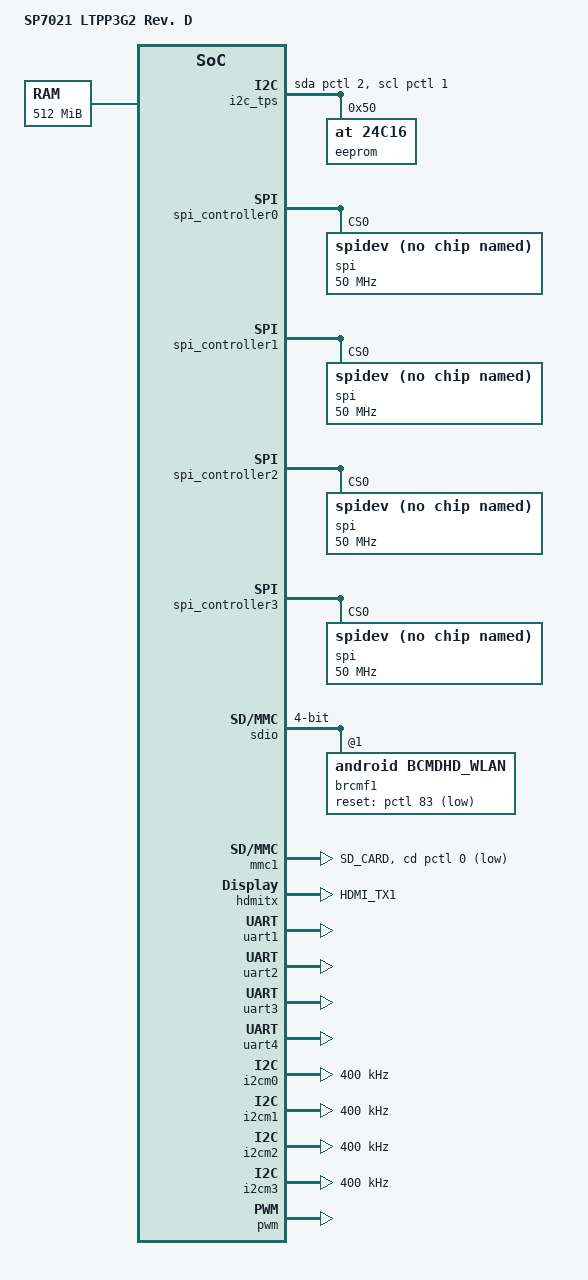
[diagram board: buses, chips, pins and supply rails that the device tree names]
// SPDX-License-Identifier: GPL-2.0
/*
 * Device Tree Source (include) for Sunplus SP7021 SoC
 *                (LTPP3G2 Rev. D portion)
 *
 * Copyright (C) 2021 Sunplus Technology Co.
 */

/dts-v1/;

#include "sp7021-common.dtsi"

/ {
	model = "SP7021 LTPP3G2 Rev. D";

	chosen {
		bootargs = "console=ttyS0,115200 root=/dev/ram rw loglevel=8 earlyprintk";
		stdout-path = "serial0:115200n8";
	};

	memory {
		reg = <0x00000000 0x20000000>; /* 512MB */
	};
};

&rtc {  charging-mode = <0x0E>;  };

&sp_display {
	ui_width = <1280>;
	ui_height = <720>;
	ui_format = <0x8>;
		/* 0x2 = 8bpp (ARGB)
		 * 0x4 = YUY2
		 * 0x8 = RGB565
		 * 0x9 = ARGB1555
		 * 0xa = RGBA4444
		 * 0xb = ARGB4444
		 * 0xd = RGBA8888
		  0xe = ARGB8888 */
};

&sp_spinor0 {  status = "disabled";  };

&spi_controller0 {
pinctrl-names = "default";
	pinctrl-0 = <&spim0_pins>;
	#address-cells = <1>;
	#size-cells = <0>;
	spi@0{    
		compatible = "rohm,dh2228fv";	
		reg = <0x0>;
		spi-max-frequency = <50000000>;		
		status = "okay";
	};
};

&spi_controller1 {
	pinctrl-names = "default";
	pinctrl-0 = <&spim1_pins>;
	#address-cells = <1>;
	#size-cells = <0>;
	spi@0{    
		compatible = "rohm,dh2228fv";	
		reg = <0x0>;
		spi-max-frequency = <50000000>;
		status = "okay";
	};
};

&spi_controller2 {
	pinctrl-names = "default";
	pinctrl-0 = <&spim2_pins>;
	#address-cells = <1>;
	#size-cells = <0>;
	spi@0{    
		compatible = "rohm,dh2228fv";	
		reg = <0x0>;
		spi-max-frequency = <50000000>;		
		status = "okay";
	};
};

&spi_controller3 {
	pinctrl-names = "default";
	pinctrl-0 = <&spim3_pins>;
	#address-cells = <1>;
	#size-cells = <0>;
	spi@0{    
		compatible = "rohm,dh2228fv";	
		reg = <0x0>;
		spi-max-frequency = <50000000>;		
		status = "okay";
	};
};


&sdio {
 pinctrl-names = "default";
 pinctrl-0 = <&pins_sdio &pins_sdio_reset>;
 bus-width = <4>;
 max-frequency = <40000000>; /* up to 52 */
 // this: enable
 status = "okay";
 brcmf1: bcrmf@1 {
   reg = <1>;
   compatible = "android,bcmdhd_wlan";
   reset-gpios = <&pctl 83 GPIO_ACTIVE_LOW>;
 };
};

&sp_uphy0 {
 pinctrl-names = "default";
 pinctrl-0 = <&pins_vbus_usb0>;
 vbus-gpio = <&pctl 90 GPIO_ACTIVE_HIGH>;
};

&sp_uphy1 {
  pinctrl-names = "default";
  pinctrl-0 = <&pins_vbus_usb1>;
  vbus-gpio = <&pctl 91 GPIO_ACTIVE_HIGH>;
};

&l2sw {
 pinctrl-names = "default";
 pinctrl-0 = <&ethA_pins &eth0_pins &eth1_pins>;
 mode = < 1 >;
	/* 0 = daisy-chain mode
		* 1 = dual NIC mode
		* 2 = daisy-chain mode (disable SA learning) */
};

&mmc0 {
 pinctrl-names = "default";
 pinctrl-0 = <&emmc_mux>;
};

&mmc1 {
 pinctrl-names = "default";
 pinctrl-0 = <&mmc1_mux>;
 cd-gpios = <&pctl 0 GPIO_ACTIVE_LOW>;
};

&hdmitx {
 pinctrl-names = "default";
 pinctrl-0 = <&hdmi_A_tx1>;
};

&uart1 {
 pinctrl-names = "default";
 pinctrl-0 = <&pins_uart1>;
 status = "okay";
 // this: enable, pins_uart1
};

&uart2 {
 pinctrl-names = "default";
 pinctrl-0 = <&pins_uart2>;
 status = "okay";
 // this: enable, pins_uart2
};

&uart3 {
 pinctrl-names = "default";
 pinctrl-0 = <&pins_uart3>;
 status = "okay";
 // this: enable, pins_uart3
};

&uart4 {
 pinctrl-names = "default";
 pinctrl-0 = <&pins_btuart &pins_bt_reset>;
 status = "okay";
 // this: enable (bt) | enable (uart4), pins_uart4
};

&i2cm0 {
	clock-frequency = <400000>;
	pinctrl-names = "default";
	pinctrl-0 = <&i2cm0_pins>;
	status = "okay";
};

&i2cm1 {
	clock-frequency = <400000>;
	pinctrl-names = "default";
	pinctrl-0 = <&i2cm1_pins>;
	status = "okay";
};

&i2cm2 {
	clock-frequency = <400000>;
	pinctrl-names = "default";
	pinctrl-0 = <&i2cm2_pins>;
	status = "okay";
};

&i2cm3 {
	clock-frequency = <400000>;
	pinctrl-names = "default";
	pinctrl-0 = <&i2cm3_pins>;
	status = "okay";
};



&pwm {
	pinctrl-names = "default";
	pinctrl-0 = <&buzzer0_pins>;
	status = "okay";
};

&pctl {
 /*** all non-device binded that you want to set mode ***/
 pinctrl-names = "default";
 pinctrl-0 = <&pins_iopp_nobinded &pins_gpio_nobinded &func_zero>;

 /* detouch any preset pins from this functions */
 func_zero: pinmux_func_zero-pins {
   sunplus,zerofunc = <
     MUXF_L2SW_LED_FLASH0
     MUXF_L2SW_LED_ON0
     MUXF_L2SW_LED_FLASH1
     MUXF_L2SW_LED_ON1
     MUXF_L2SW_P0_MAC_RMII_RXER
     MUXF_L2SW_P1_MAC_RMII_RXER
     GROP_SPI_FLASH
   >;
 };

 pins_iopp_nobinded: pinmux_iopp_nobinded-pins {
    sunplus,pins = <
    /* SPPCTL_IOPAD(97,SPPCTL_PCTL_G_IOPP,0,0) */
    >;
 };
 pins_gpio_nobinded: pinmux_gpio_nobinded-pins {
    sunplus,pins = <
      /*SPPCTL_IOPAD(42,SPPCTL_PCTL_G_GPIO,0,0)*/   /* was L2SW_LED_FLASH0 */
      /*SPPCTL_IOPAD(51,SPPCTL_PCTL_G_GPIO,0,0)*/   /* was L2SW_LED_ON0 */
      SPPCTL_IOPAD(30,SPPCTL_PCTL_G_GPIO,0,0)   /* was L2SW_LED_FLASH1 */
      SPPCTL_IOPAD(39,SPPCTL_PCTL_G_GPIO,0,0)   /* was L2SW_LED_ON1  */
    >;
 };

 pins_vbus_usb0: pinmux_vbus_usb0-pins {
    sunplus,pins = <
      SPPCTL_IOPAD(90,SPPCTL_PCTL_G_GPIO,0,SPPCTL_PCTL_L_OUT)
    >;
 };
 pins_vbus_usb1: pinmux_vbus_usb1-pins {
    sunplus,pins = <
      SPPCTL_IOPAD(91,SPPCTL_PCTL_G_GPIO,0,SPPCTL_PCTL_L_OUT)
    >;
 };

 leds_s0_def: pinmux_user_leds_s0_def-pins {
    sunplus,pins = <
      SPPCTL_IOPAD(6,SPPCTL_PCTL_G_GPIO,MUXF_GPIO,SPPCTL_PCTL_L_INV)
      SPPCTL_IOPAD(7,SPPCTL_PCTL_G_GPIO,0,SPPCTL_PCTL_L_INV)
    >;
 };
 leds_s0_slp: pinmux_user_leds_s0_slp-pins {
    sunplus,pins = <
      SPPCTL_IOPAD(6,SPPCTL_PCTL_G_GPIO,0,0)
      SPPCTL_IOPAD(7,SPPCTL_PCTL_G_GPIO,0,0)
    >;
 };
 tpsleds_pins: pinmux_user_tpsleds-pins {
    sunplus,pins = <
      SPPCTL_IOPAD(4,SPPCTL_PCTL_G_GPIO,0,0)
      SPPCTL_IOPAD(5,SPPCTL_PCTL_G_GPIO,0,0)
    >;
 };

 i2cm0_pins: i2cm0_pins {
    sunplus,pins = <>;};

 i2cm1_pins: i2cm1_pins {
    sunplus,pins = <>;
 };

 i2cm2_pins: i2cm2_pins {
    sunplus,pins = <>;
 }; 

 i2cm3_pins: i2cm3_pins {
    sunplus,pins = <>;
 }; 

 spim0_pins: spim0_pins {
    sunplus,pins = <>;
 };

 spim1_pins: spim1_pins {
    sunplus,pins = <>;
 };

 spim2_pins: spim2_pins {
    sunplus,pins = <>;
 };

 spim3_pins: spim3_pins {
    sunplus,pins = <>;
 };


 pins_uart1: pinmux_uart1-pins {
    sunplus,pins = <>;
 };

 pins_uart2: pinmux_uart2-pins {
    sunplus,pins = <>;
 };

 pins_uart3: pinmux_uart3-pins {
    sunplus,pins = <>;
 };

 pins_uart4: pinmux_uart4-pins {
    sunplus,pins = <>;
 };

 pins_btuart: pinmux_btuart-pins {
    sunplus,pins = <
      SPPCTL_IOPAD(40,SPPCTL_PCTL_G_PMUX,MUXF_UA4_RX,0)
      SPPCTL_IOPAD(41,SPPCTL_PCTL_G_PMUX,MUXF_UA4_TX,0)
      SPPCTL_IOPAD(56,SPPCTL_PCTL_G_PMUX,MUXF_UA4_RTS,SPPCTL_PCTL_L_ONV)
      SPPCTL_IOPAD(49,SPPCTL_PCTL_G_PMUX,MUXF_UA4_CTS,0)
    >;
 };
 
 pins_bt_reset: pinmux_bt_reset-pins {
    sunplus,pins = <
      SPPCTL_IOPAD(82,SPPCTL_PCTL_G_GPIO,0,0)
    >;
 };
 
 buzzer0_pins: pinmux_user_buzzer0-pins {
    sunplus,pins = <
      SPPCTL_IOPAD(48,SPPCTL_PCTL_G_PMUX,MUXF_PWM0,0)
    >;
 };
 
 pins_i2ctps: pinmux_i2ctps-pins {
    sunplus,pins = <
      SPPCTL_IOPAD(1,SPPCTL_PCTL_G_GPIO,0,SPPCTL_PCTL_L_OUT|SPPCTL_PCTL_L_ONV|SPPCTL_PCTL_L_ODR)
      SPPCTL_IOPAD(2,SPPCTL_PCTL_G_GPIO,0,SPPCTL_PCTL_L_OUT|SPPCTL_PCTL_L_ONV|SPPCTL_PCTL_L_ODR)
    >;
 };
 
 hdmi_A_tx1: pinmux_hdmi_tx1-pins {
    function = "HDMI_TX";
    groups = "HDMI_TX1";
 };
 
 /* for all eth */
 ethA_pins: pinmux_ethA-pins {
  sunplus,pins = <
       SPPCTL_IOPAD(63,SPPCTL_PCTL_G_PMUX,MUXF_L2SW_CLK_OUT,0)
       SPPCTL_IOPAD(71,SPPCTL_PCTL_G_PMUX,MUXF_L2SW_MAC_SMI_MDC,0)
       SPPCTL_IOPAD(64,SPPCTL_PCTL_G_PMUX,MUXF_L2SW_MAC_SMI_MDIO,0)
  >;
 };
 
 eth0_pins: pinmux_eth0-pins {
  sunplus,pins = <
       SPPCTL_IOPAD(62,SPPCTL_PCTL_G_PMUX,MUXF_L2SW_P0_MAC_RMII_TXEN,0)
       SPPCTL_IOPAD(61,SPPCTL_PCTL_G_PMUX,MUXF_L2SW_P0_MAC_RMII_TXD0,0)
       SPPCTL_IOPAD(60,SPPCTL_PCTL_G_PMUX,MUXF_L2SW_P0_MAC_RMII_TXD1,0)
       SPPCTL_IOPAD(59,SPPCTL_PCTL_G_PMUX,MUXF_L2SW_P0_MAC_RMII_CRSDV,0)
       SPPCTL_IOPAD(58,SPPCTL_PCTL_G_PMUX,MUXF_L2SW_P0_MAC_RMII_RXD0,0)
       SPPCTL_IOPAD(57,SPPCTL_PCTL_G_PMUX,MUXF_L2SW_P0_MAC_RMII_RXD1,0)
  >;
 };
 
 eth1_pins: pinmux_eth1-pins {
  sunplus,pins = <
       SPPCTL_IOPAD(55,SPPCTL_PCTL_G_PMUX,MUXF_L2SW_P1_MAC_RMII_TXEN,0)
       SPPCTL_IOPAD(54,SPPCTL_PCTL_G_PMUX,MUXF_L2SW_P1_MAC_RMII_TXD0,0)
       SPPCTL_IOPAD(53,SPPCTL_PCTL_G_PMUX,MUXF_L2SW_P1_MAC_RMII_TXD1,0)
       SPPCTL_IOPAD(52,SPPCTL_PCTL_G_PMUX,MUXF_L2SW_P1_MAC_RMII_CRSDV,0)
       SPPCTL_IOPAD(51,SPPCTL_PCTL_G_PMUX,MUXF_L2SW_P1_MAC_RMII_RXD0,0)
       SPPCTL_IOPAD(50,SPPCTL_PCTL_G_PMUX,MUXF_L2SW_P1_MAC_RMII_RXD1,0)
  >;
 };

 mmc1_mux: pinmux_mmc1-pins {
	function = "SD_CARD";
	groups = "SD_CARD";
	sunplus,pins = < SPPCTL_IOPAD(0,SPPCTL_PCTL_G_GPIO,0,0) >;
 };
 
 pins_sdio: pinmux_sdio-pins {
	sunplus,pins = <
		SPPCTL_IOPAD(44,SPPCTL_PCTL_G_PMUX,MUXF_SDIO_D1,0)
		SPPCTL_IOPAD(45,SPPCTL_PCTL_G_PMUX,MUXF_SDIO_D0,0)
		SPPCTL_IOPAD(46,SPPCTL_PCTL_G_PMUX,MUXF_SDIO_CLK,0)
		SPPCTL_IOPAD(47,SPPCTL_PCTL_G_PMUX,MUXF_SDIO_CMD,0)
		SPPCTL_IOPAD(42,SPPCTL_PCTL_G_PMUX,MUXF_SDIO_D3,0)
		SPPCTL_IOPAD(43,SPPCTL_PCTL_G_PMUX,MUXF_SDIO_D2,0) >;
 };
 
 pins_sdio_reset: pinmux_sdio_reset-pins {
	sunplus,pins = <
		/* additional reset pin for BRCM */
		SPPCTL_IOPAD(83,SPPCTL_PCTL_G_GPIO,0,SPPCTL_PCTL_L_OU1)
	>;
 };

};

/ {
	soc@B {
		tpsid {
        	compatible = "tpsid";
		    nvmem-cell-names = "mac_addr0";
		    nvmem-cells = <&mac_addr0>;
		};
		
		i2c_tps: i2c-tps { /* eeprom */
		    compatible = "i2c-gpio";
		    i2c-gpio,scl-open-drain;
		    i2c-gpio,sda-open-drain;
		    i2c-gpio,delay-us = <1>;/* ~100 kHz */
		    #address-cells = <1>;
		    #size-cells = <0>;
		    pinctrl-names = "default";
		    pinctrl-0 = <&pins_i2ctps>;
		    gpios = <&pctl 2 GPIO_ACTIVE_HIGH     /* SDA */
			     	 &pctl 1 GPIO_ACTIVE_HIGH     /* SCL */
                    >;
		    eeprom: eeprom@50 {
			compatible = "at,24c16";
			reg = <0x50>;
			pagesize = <16>;
		    };
		};
	};
};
